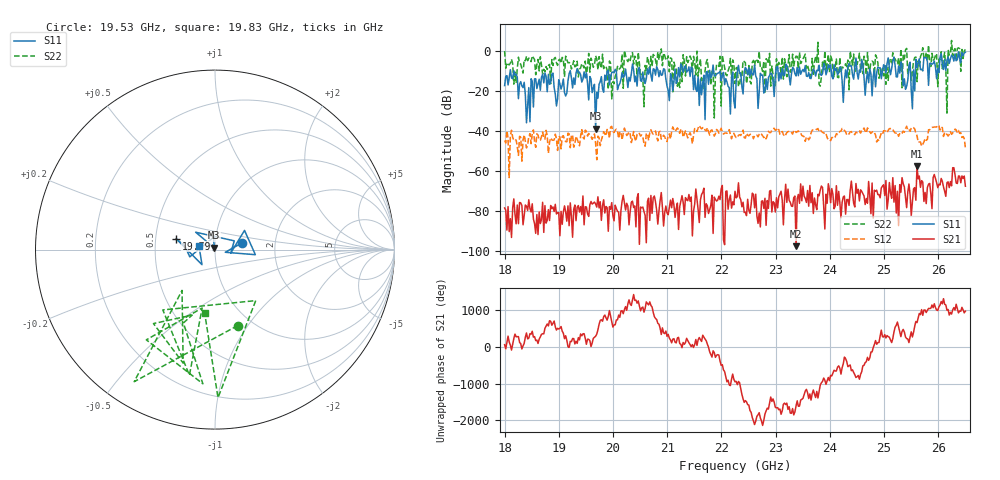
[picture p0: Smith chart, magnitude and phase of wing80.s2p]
!Keysight Technologies,N5242B,MY47200105,A.14.00.23
!Date: Friday, May 10, 2024 11:02:05
!Correction: S11(C  2-Port  )
!S21(C  2-Port  )
!S12(C  2-Port  )
!S22(C  2-Port  )
!S2P File: Measurement: :
# Hz S  RI  R 50
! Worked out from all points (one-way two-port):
!   401 points, 18 GHz to 26.5 GHz, reference 50 ohm
!   highest |S21| = -57.73 dB at 25.61 GHz (marker M1); lowest = -97.8 dB at 23.38 GHz (marker M2)
!   lowest |S11| = -39.0 dB at 19.68 GHz (marker M3), VSWR 1.02, Z = 49.5 + j1.02 ohm
!   |S11| at or under -10 dB: 18.11 GHz to 19.21 GHz (1.101 GHz wide, 5.9 % of centre); 19.35 GHz to 19.9 GHz (550.2 MHz wide, 2.8 % of centre); 21.86 GHz to 22.3 GHz (438.4 MHz wide, 1.99 % of centre) (the widest 3 of 61)
!   |S22| runs from -33.6 to 5.2 dB; largest |S21 - S12| = 0.014
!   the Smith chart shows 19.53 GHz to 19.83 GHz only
!   S11 on the Smith chart (normalised r, x): 19.53 GHz: 1.35, +0.10; 19.79 GHz: 0.64, +0.08; 19.83 GHz: 0.84, +0.04
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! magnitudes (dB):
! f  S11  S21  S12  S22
! 18 GHz  -17.4  -78.7  -44.9  -0.1
! 18.43 GHz  -27.4  -79.9  -47.0  -4.9
! 18.72 GHz  -16.1  -90.9  -43.5  -9.3
! 19.42 GHz  -15.6  -82.0  -39.5  -6.4
! 19.53 GHz  -16.3  -81.7  -42.7  -7.1
! 19.68 GHz  -39.0  -76.7  -46.3  -2.5
! 19.79 GHz  -12.9  -84.9  -44.7  -8.8
! 19.83 GHz  -20.7  -74.6  -40.5  -8.9
! 20.02 GHz  -11.0  -85.2  -40.9  -16.5
! 20.38 GHz  -9.5  -78.5  -40.4  -6.6
! 20.55 GHz  -10.6  -78.3  -43.1  -13.8
! 20.85 GHz  -13.0  -80.2  -40.6  -4.7
! 21.23 GHz  -13.1  -78.0  -41.3  -18.4
! 21.4 GHz  -8.0  -71.9  -42.0  -4.4
! 21.66 GHz  -15.9  -70.9  -38.5  -14.1
! 21.85 GHz  -7.1  -91.4  -41.4  -8.8
! 22.25 GHz  -28.6  -70.3  -42.6  -16.4
! 23.38 GHz  -12.6  -97.8  -40.9  -2.7
! 23.67 GHz  -11.0  -71.0  -39.8  -3.8
! 25.1 GHz  -8.4  -65.9  -39.0  -5.8
! 25.61 GHz  -8.5  -57.7  -42.4  -15.4
! 26.5 GHz  -0.7  -67.8  -48.6  0.7
